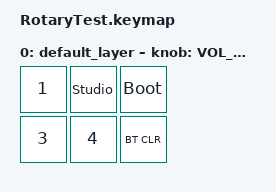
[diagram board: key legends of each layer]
#include <behaviors.dtsi>
#include <dt-bindings/zmk/keys.h>
#include <dt-bindings/zmk/bt.h>

/ {
    behaviors {
        rotary: inc_dec_kp  {
            compatible = "zmk,behavior-sensor-rotate-var";
            #sensor-binding-cells = <2>;
            bindings = <&kp>, <&kp>;
        };
    };
    keymap {
        compatible = "zmk,keymap";

        default_layer {
            bindings = <
                
                &kp N1 &studio_unlock &bootloader
                
                &kp N3 &kp N4 &bt BT_CLR

            >;
            sensor-bindings = <&rotary C_VOL_UP C_VOL_DN>;
        };
    };
};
